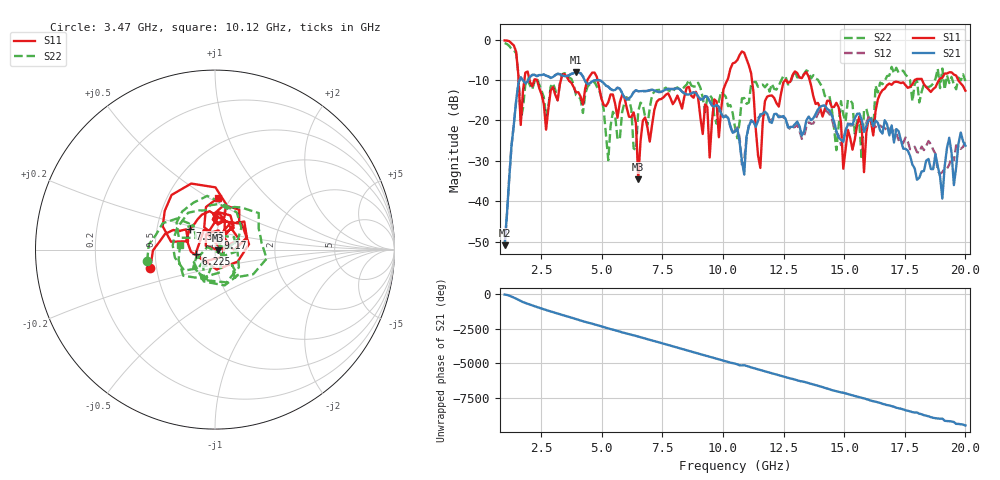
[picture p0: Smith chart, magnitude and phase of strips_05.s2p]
!Agilent Technologies,N5230A,MY45001629,A.07.50.67
!Agilent N5230A: A.07.50.67
!Date: Monday, June 05, 2017 16:31:07
!Correction: S11(Full 2 Port(1,2))
!S21(Full 2 Port(1,2))
!S12(Full 2 Port(1,2))
!S22(Full 2 Port(1,2))
!S2P File: Measurements: S11, S21, S12, S22:
# Hz S  dB  R 50
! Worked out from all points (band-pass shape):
!   201 points, 1 GHz to 20 GHz, reference 50 ohm
!   highest |S21| = -8.10 dB at 3.945 GHz (marker M1); lowest = -50.9 dB at 1 GHz (marker M2)
!   |S21| within 3 dB of the highest: 1.563 GHz to 5.134 GHz (3.571 GHz wide, 107 % of centre)
!   lowest |S11| = -34.6 dB at 6.51 GHz (marker M3), VSWR 1.04, Z = 51.9 - j0.297 ohm
!   |S11| at or under -10 dB: 4.83 GHz to 10.18 GHz (5.354 GHz wide, 71.3 % of centre); 11.2 GHz to 12.58 GHz (1.382 GHz wide, 11.6 % of centre); 13.57 GHz to 17.91 GHz (4.337 GHz wide, 27.5 % of centre)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
!   |S22| runs from -29.9 to -0.9 dB; largest |S21 - S12| = 0.037
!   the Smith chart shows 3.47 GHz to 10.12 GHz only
!   S11 on the Smith chart (normalised r, x): 3.47 GHz: 0.46, -0.11; 6.225 GHz: 0.80, -0.04; 7.365 GHz: 0.74, +0.18; 9.17 GHz: 1.02, +0.14; 10.12 GHz: 0.87, +0.55
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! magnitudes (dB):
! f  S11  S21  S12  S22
! 1 GHz  -0.2  -50.9  -51.1  -0.9
! 1.57 GHz  -9.0  -10.8  -10.7  -8.7
! 2.71 GHz  -22.3  -8.9  -8.9  -19.1
! 3.47 GHz  -8.5  -9.0  -9.1  -8.3
! 3.945 GHz  -13.1  -8.1  -8.1  -13.7
! 4.23 GHz  -16.1  -9.1  -9.1  -18.2
! 5.275 GHz  -15.5  -11.7  -11.7  -29.9
! 6.225 GHz  -19.2  -14.0  -13.9  -17.2
! 6.51 GHz  -34.6  -12.8  -12.8  -17.7
! 7.365 GHz  -14.8  -13.0  -13.0  -12.5
! 9.17 GHz  -23.4  -14.8  -14.8  -14.4
! 10.12 GHz  -10.8  -19.0  -18.7  -14.1
! 10.5 GHz  -5.7  -22.8  -22.5  -21.7
! 11.16 GHz  -8.3  -20.2  -19.9  -11.1
! 11.54 GHz  -31.8  -18.5  -18.9  -11.3
! 11.83 GHz  -14.1  -18.4  -18.6  -11.1
! 13.73 GHz  -14.0  -19.5  -20.8  -8.8
! 14.68 GHz  -15.7  -22.6  -23.1  -27.4
! 15.82 GHz  -32.8  -22.9  -21.3  -17.6
! 16.86 GHz  -10.9  -23.7  -22.0  -8.9
! 19.05 GHz  -9.5  -39.3  -32.8  -7.2
! 20 GHz  -12.6  -26.3  -25.1  -10.3
